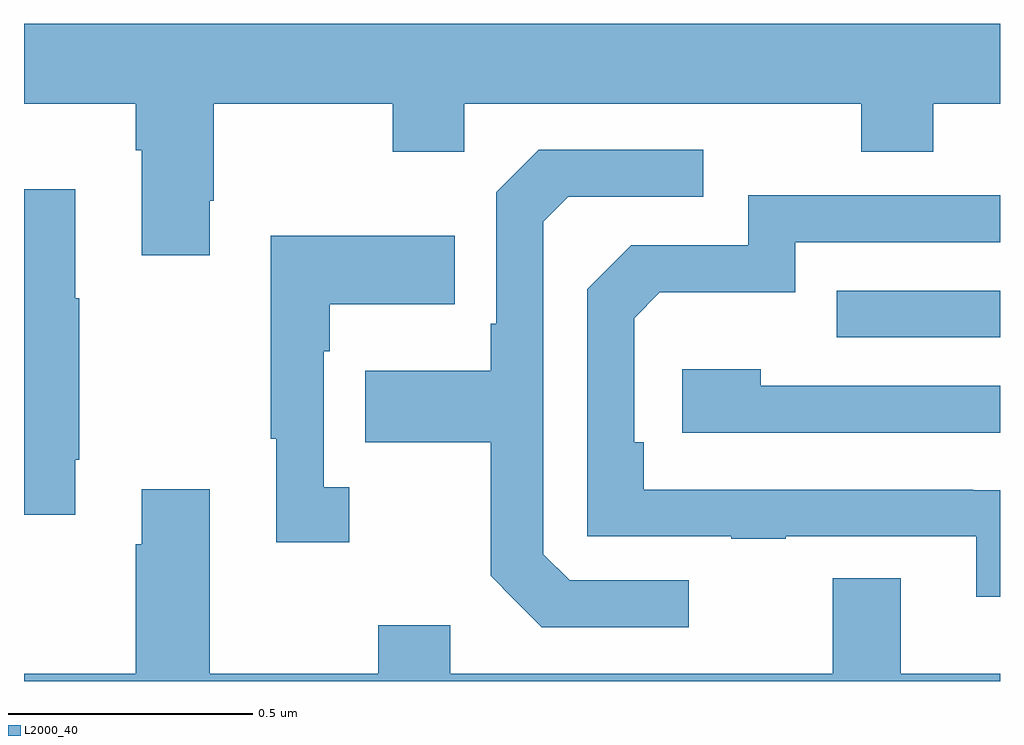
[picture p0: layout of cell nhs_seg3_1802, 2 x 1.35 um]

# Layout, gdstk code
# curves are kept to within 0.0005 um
import gdstk
lib = gdstk.Library(unit=1e-6, precision=1e-09)
def R(c, l, rs):  # rectangles x0, y0, x1, y1
    for r in rs: c.add(gdstk.rectangle(r[:2], r[2:], *l))
def P(c, l, *ps):  # polygons
    for p in ps: c.add(gdstk.Polygon(p, *l))
L2000_40 = (2000, 40)

nhs_seg3_1802 = lib.new_cell('nhs_seg3_1802')
R(nhs_seg3_1802, L2000_40, [(134.665,699.105,135,699.201)])
P(nhs_seg3_1802, L2000_40, [(133.381,699.385),(133.389,699.385),(133.389,699.584),(133.756,699.584),(133.756,699.485),(133.902,699.485),(133.902,699.584),(134.716,699.584),(134.716,699.485),(134.863,699.485),(134.863,699.584),(135,699.584),(135,699.748),(133,699.748),(133,699.584),(133.229,699.584),(133.229,699.488),(133.241,699.488),(133.241,699.273),(133.381,699.273)],
  [(134.362,698.607),(134.118,698.607),(134.064,698.661),(134.064,699.342),(134.115,699.393),(134.392,699.393),(134.392,699.489),(134.055,699.489),(133.968,699.402),(133.968,699.133),(133.956,699.133),(133.956,699.037),(133.699,699.037),(133.699,698.89),(133.956,698.89),(133.956,698.617),(134.061,698.511),(134.362,698.511)],
  [(133.105,698.854),(133.113,698.854),(133.113,699.185),(133.105,699.185),(133.105,699.409),(133,699.409),(133,698.742),(133.105,698.742)],
  [(135,698.792),(134.945,698.792),(134.945,698.793),(134.27,698.793),(134.27,698.89),(134.25,698.89),(134.25,699.144),(134.303,699.197),(134.58,699.197),(134.58,699.3),(135,699.3),(135,699.396),(134.484,699.396),(134.484,699.294),(134.244,699.294),(134.154,699.204),(134.154,698.697),(134.449,698.697),(134.449,698.692),(134.561,698.692),(134.561,698.697),(134.951,698.697),(134.951,698.574),(135,698.574)],
  [(133.666,698.798),(133.614,698.798),(133.614,699.077),(133.627,699.077),(133.627,699.173),(133.883,699.173),(133.883,699.313),(133.506,699.313),(133.506,698.897),(133.517,698.897),(133.517,698.685),(133.666,698.685)],
  [(135,699.006),(134.51,699.006),(134.51,699.04),(134.349,699.04),(134.349,698.91),(135,698.91)],
  [(135,698.416),(134.797,698.416),(134.797,698.611),(134.657,698.611),(134.657,698.416),(133.873,698.416),(133.873,698.515),(133.726,698.515),(133.726,698.416),(133.381,698.416),(133.381,698.794),(133.241,698.794),(133.241,698.681),(133.229,698.681),(133.229,698.416),(133,698.416),(133,698.4),(135,698.4)])

lib.write_gds('nhs_seg3_1802.gds')
